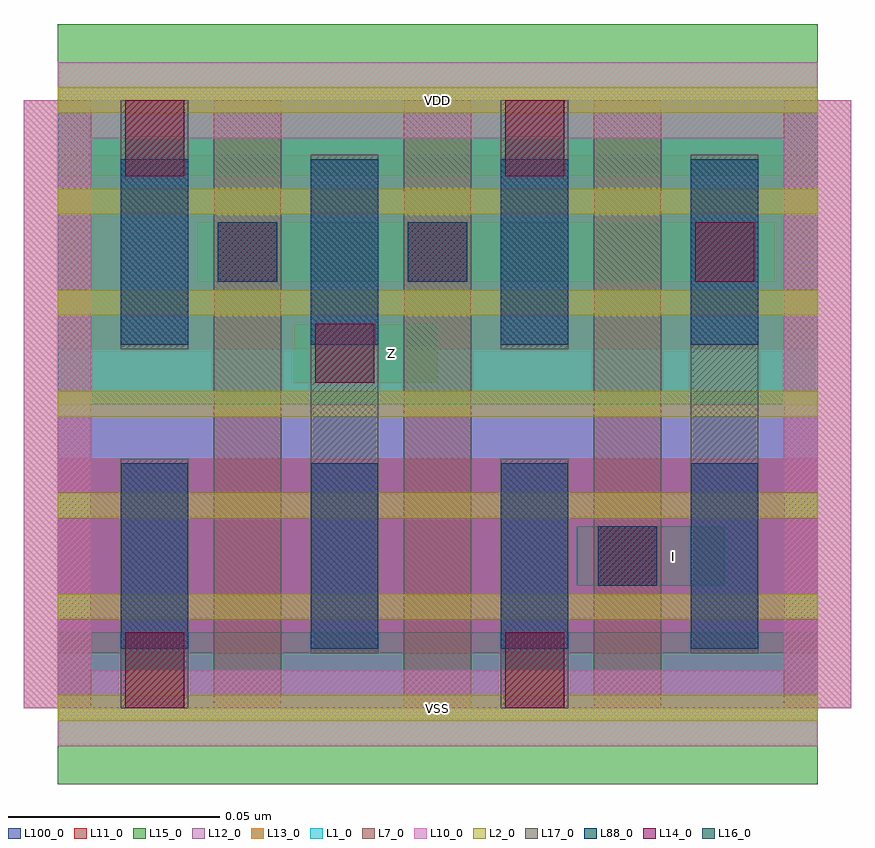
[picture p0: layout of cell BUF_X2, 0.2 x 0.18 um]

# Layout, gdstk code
import gdstk
lib = gdstk.Library(unit=1e-6, precision=1e-09)
def R(c, l, rs):  # rectangles x0, y0, x1, y1
    for r in rs: c.add(gdstk.rectangle(r[:2], r[2:], *l))
def A(c, l, x, y, w, h, nx, ny, dx, dy):  # array of equal rectangles
    R(c, l, [(x+i*dx, y+j*dy, x+i*dx+w, y+j*dy+h) for i in range(nx) for j in range(ny)])
def P(c, l, *ps):  # polygons
    for p in ps: c.add(gdstk.Polygon(p, *l))
L1_0 = (1, 0)
L2_0 = (2, 0)
L7_0 = (7, 0)
L10_0 = (10, 0)
L11_0 = (11, 0)
L12_0 = (12, 0)
L13_0 = (13, 0)
L14_0 = (14, 0)
L15_0 = (15, 0)
L16_0 = (16, 0)
L17_0 = (17, 0)
L88_0 = (88, 0)
L100_0 = (100, 0)

buf_x2 = lib.new_cell('BUF_X2')
R(buf_x2, L1_0, [(0,0.072,0.18,0.144)])
A(buf_x2, L2_0, 0, -0.003, 0.18, 0.006, 1, 7, 0, 0.024)
A(buf_x2, L7_0, -0.008, 0, 0.016, 0.144, 5, 1, 0.045, 0)
P(buf_x2, L10_0, [(0,-0.009),(0,0),(-0.008,0),(-0.008,0.135),(0.008,0.135),(0.008,0.009),(0.172,0.009),(0.172,0.135),(-0.008,0.135),(-0.008,0.144),(0,0.144),(0,0.153),(0.18,0.153),(0.18,0.144),(0.188,0.144),(0.188,0),(0.18,0),(0.18,-0.009)])
R(buf_x2, L11_0, [(0,0.013,0.18,0.059), (0,0.085,0.18,0.131)])
R(buf_x2, L12_0, [(0,0,0.18,0.072)])
R(buf_x2, L13_0, [(0,0.072,0.18,0.144)])
R(buf_x2, L14_0, [(0.016,0,0.03,0.018), (0.106,0,0.12,0.018), (0.128,0.029,0.142,0.043), (0.061,0.077,0.075,0.091), (0.038,0.101,0.052,0.115), (0.083,0.101,0.097,0.115), (0.151,0.101,0.165,0.115), (0.016,0.126,0.03,0.144), (0.106,0.126,0.12,0.144)])
R(buf_x2, L15_0, [(0,-0.018,0.18,0.018), (0.123,0.029,0.158,0.043), (0.056,0.077,0.09,0.091), (0.033,0.101,0.17,0.115), (0,0.126,0.18,0.162)])
R(buf_x2, L16_0, [(0.128,0.029,0.142,0.043), (0.038,0.101,0.052,0.115), (0.083,0.101,0.097,0.115)])
R(buf_x2, L17_0, [(0.015,0,0.031,0.059), (0.105,0,0.121,0.059), (0.06,0.013,0.076,0.131), (0.15,0.013,0.166,0.131), (0.015,0.085,0.031,0.144), (0.105,0.085,0.121,0.144)])
A(buf_x2, L88_0, 0.015, 0.014, 0.016, 0.044, 4, 2, 0.045, 0.072)
R(buf_x2, L100_0, [(0,0,0.18,0.144)])
buf_x2.add(gdstk.Label('I', (0.146,0.036), layer=15, texttype=251))
buf_x2.add(gdstk.Label('VSS', (0.09,0), layer=15, texttype=251))
buf_x2.add(gdstk.Label('VDD', (0.09,0.144), layer=15, texttype=251))
buf_x2.add(gdstk.Label('Z', (0.079,0.084), layer=15, texttype=251))
buf_x2.add(gdstk.Label('VSS', (0.09,0), layer=15, texttype=251))
buf_x2.add(gdstk.Label('VDD', (0.09,0.144), layer=15, texttype=251))
buf_x2.add(gdstk.Label('VSS', (0.09,0), layer=3, texttype=251))
buf_x2.add(gdstk.Label('VSS', (0.09,0), layer=3, texttype=251))
buf_x2.add(gdstk.Label('VDD', (0.09,0.144), layer=1, texttype=251))
buf_x2.add(gdstk.Label('VDD', (0.09,0.144), layer=1, texttype=251))

lib.write_gds('BUF_X2.gds')
